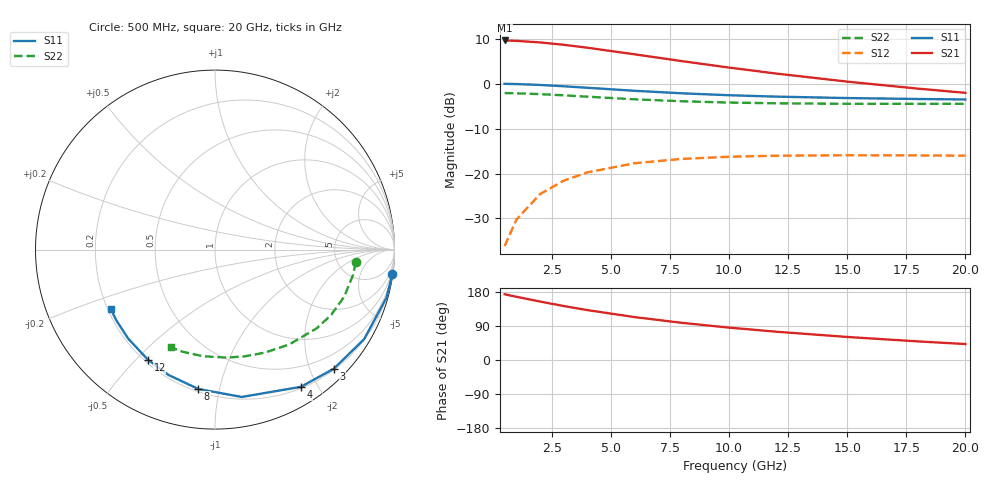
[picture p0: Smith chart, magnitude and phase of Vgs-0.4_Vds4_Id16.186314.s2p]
# Hz S RI R 50
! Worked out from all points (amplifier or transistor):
!   12 points, 500 MHz to 20 GHz, reference 50 ohm
!   highest |S21| = 9.6 dB at 500 MHz (marker M1)
!   |S21| within 3 dB of that: start of sweep to 5.879 GHz
!   unconditionally stable (mu >= 1): 16.35 GHz to end of sweep
!   at 2 GHz: K = 0.11, MSG = 16.9 dB, |S12| = -24.6 dB
!   at 8 GHz: K = 0.45, MSG = 10.9 dB, |S12| = -16.7 dB
!   at 20 GHz: K = 1.29, MAG = 3.8 dB, |S12| = -16.0 dB
!   S11 on the Smith chart (normalised r, x): 500 MHz: 0, -14; 3 GHz: 0.22, -2.39; 4 GHz: 0.22, -1.78; 8 GHz: 0.22, -0.86; 12 GHz: 0.21, -0.54; 20 GHz: 0.21, -0.25
5e8  0.9884 -0.1378  -3.014 0.3486  0.00149 0.0154  0.7838 -0.0705
1e9  0.9543 -0.2699  -2.924 0.682  0.00583 0.0302  0.77 -0.1389
2e9  0.8309 -0.499  -2.598 1.254  0.0215 0.0549  0.7195 -0.2626
3e9  0.6614 -0.6642  -2.153 1.655  0.0429 0.0714  0.6486 -0.3622
4e9  0.478 -0.7646  -1.676 1.882  0.0656 0.0794  0.569 -0.4371
6e9  0.149 -0.8211  -0.8383 1.954  0.1049 0.077  0.4138 -0.5285
8e9  -0.0931 -0.7766  -0.2514 1.768  0.1315 0.0624  0.279 -0.5737
1e10  -0.2594 -0.6981  0.1196 1.508  0.1471 0.0447  0.1642 -0.5948
1.2e10  -0.3737 -0.6137  0.344 1.252  0.1554 0.0277  0.0638 -0.6019
1.5e10  -0.4843 -0.4952  0.5153 0.9216  0.1596 0.00591  -0.0672 -0.5941
1.8e10  -0.5515 -0.3912  0.5778 0.6659  0.1587 -0.0113  -0.1793 -0.5693
2e10  -0.5813 -0.3294  0.5873 0.531  0.1567 -0.0207  -0.2446 -0.5454
